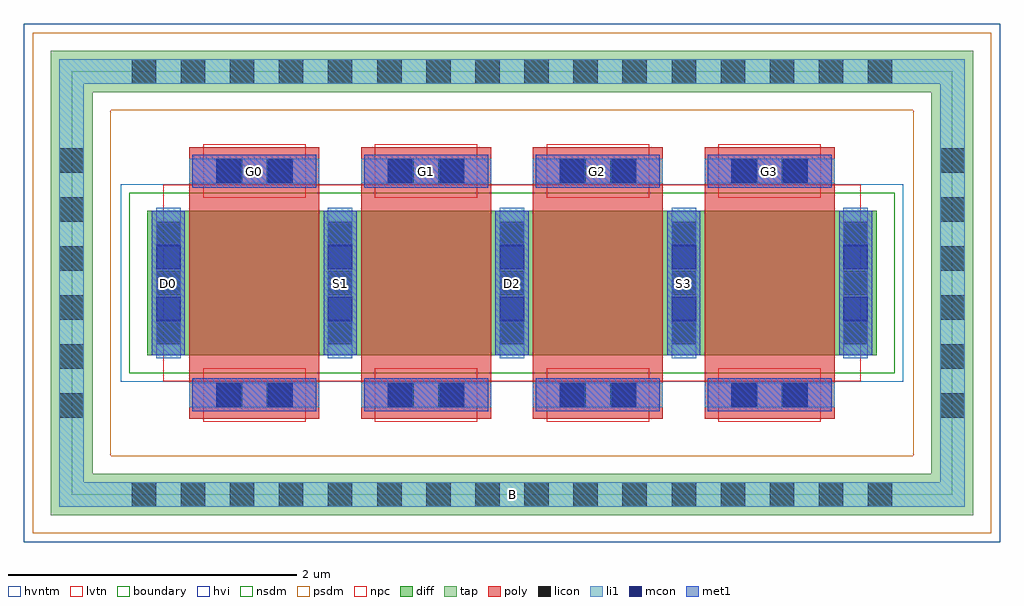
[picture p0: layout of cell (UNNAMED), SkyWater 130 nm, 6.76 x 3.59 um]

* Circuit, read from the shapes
.subckt (UNNAMED) B D0 D2 G0 G1 G2 G3 S1 S3
XM1 S1 G0 D0 B sky130_fd_pr__nfet_05v0_nvt w=1 l=0.9
XM2 D2 G1 S1 B sky130_fd_pr__nfet_05v0_nvt w=1 l=0.9
XM3 S3 G2 D2 B sky130_fd_pr__nfet_05v0_nvt w=1 l=0.9
XM4 n1 G3 S3 B sky130_fd_pr__nfet_05v0_nvt w=1 l=0.9
.ends

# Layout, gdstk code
import gdstk
lib = gdstk.Library(unit=1e-6, precision=1e-09)
def R(c, l, rs):  # rectangles x0, y0, x1, y1
    for r in rs: c.add(gdstk.rectangle(r[:2], r[2:], *l))
def A(c, l, x, y, w, h, nx, ny, dx, dy):  # array of equal rectangles
    R(c, l, [(x+i*dx, y+j*dy, x+i*dx+w, y+j*dy+h) for i in range(nx) for j in range(ny)])
diff = (65, 20)
tap = (65, 44)
poly = (66, 20)
licon = (66, 44)
li1 = (67, 20)
mcon = (67, 44)
met1 = (68, 20)
hvi = (75, 20)
nsdm = (93, 44)
psdm = (94, 20)
npc = (95, 20)
hvntm = (125, 20)
lvtn = (125, 44)
boundary = (235, 4)

c__unnamed_ = lib.new_cell('(UNNAMED)')
R(c__unnamed_, diff, [(-2.525,-0.5,2.525,0.5)])
R(c__unnamed_, tap, [(-3.195,-1.61,3.195,-1.32), (-3.195,-1.32,-2.905,1.32), (2.905,-1.32,3.195,1.32), (-3.195,1.32,3.195,1.61)])
A(c__unnamed_, poly, -2.235, -0.94, 0.9, 1.88, 4, 1, 1.19, 0)
A(c__unnamed_, licon, -2.635, -1.55, 0.17, 0.17, 16, 2, 0.34, 2.93)
A(c__unnamed_, licon, -3.135, -0.935, 0.17, 0.17, 1, 6, 0, 0.34)
A(c__unnamed_, licon, 2.965, -0.935, 0.17, 0.17, 1, 6, 0, 0.34)
A(c__unnamed_, licon, -2.465, -0.425, 0.17, 0.17, 5, 3, 1.19, 0.34)
R(c__unnamed_, licon, [(-2.04,-0.86,-1.87,-0.69), (-1.7,-0.86,-1.53,-0.69), (-0.85,-0.86,-0.68,-0.69), (-0.51,-0.86,-0.34,-0.69), (0.34,-0.86,0.51,-0.69), (0.68,-0.86,0.85,-0.69), (1.53,-0.86,1.7,-0.69), (1.87,-0.86,2.04,-0.69), (-2.04,0.69,-1.87,0.86), (-1.7,0.69,-1.53,0.86), (-0.85,0.69,-0.68,0.86), (-0.51,0.69,-0.34,0.86), (0.34,0.69,0.51,0.86), (0.68,0.69,0.85,0.86), (1.53,0.69,1.7,0.86), (1.87,0.69,2.04,0.86)])
A(c__unnamed_, li1, -2.235, -0.86, 0.9, 0.17, 4, 2, 1.19, 1.55)
A(c__unnamed_, li1, -2.465, -0.52, 0.17, 1.04, 5, 1, 1.19, 0)
R(c__unnamed_, li1, [(-3.135,-1.55,3.135,-1.38), (-3.135,-1.38,-2.965,1.38), (2.965,-1.38,3.135,1.38), (-3.135,1.38,3.135,1.55)])
A(c__unnamed_, mcon, -2.465, -0.265, 0.17, 0.17, 5, 2, 1.19, 0.36)
R(c__unnamed_, mcon, [(-2.05,-0.86,-1.88,-0.69), (-1.69,-0.86,-1.52,-0.69), (-0.86,-0.86,-0.69,-0.69), (-0.5,-0.86,-0.33,-0.69), (0.33,-0.86,0.5,-0.69), (0.69,-0.86,0.86,-0.69), (1.52,-0.86,1.69,-0.69), (1.88,-0.86,2.05,-0.69), (-2.05,0.69,-1.88,0.86), (-1.69,0.69,-1.52,0.86), (-0.86,0.69,-0.69,0.86), (-0.5,0.69,-0.33,0.86), (0.33,0.69,0.5,0.86), (0.69,0.69,0.86,0.86), (1.52,0.69,1.69,0.86), (1.88,0.69,2.05,0.86)])
A(c__unnamed_, met1, -2.215, -0.89, 0.86, 0.23, 4, 2, 1.19, 1.55)
A(c__unnamed_, met1, -2.495, -0.5, 0.23, 1, 5, 1, 1.19, 0)
R(c__unnamed_, hvi, [(-3.38,-1.795,3.38,1.795)])
R(c__unnamed_, nsdm, [(-2.65,-0.625,2.65,0.625)])
R(c__unnamed_, psdm, [(-3.32,-1.735,3.32,-1.195), (-3.32,-1.195,-2.78,1.195), (2.78,-1.195,3.32,1.195), (-3.32,1.195,3.32,1.735)])
A(c__unnamed_, npc, -2.14, -0.96, 0.71, 0.37, 4, 2, 1.19, 1.55)
R(c__unnamed_, hvntm, [(-2.71,-0.685,2.71,0.685)])
R(c__unnamed_, lvtn, [(-2.415,-0.68,2.415,0.68)])
R(c__unnamed_, boundary, [(-3.05,-1.465,3.05,1.465)])
c__unnamed_.add(gdstk.Label('B', (0,-1.465), layer=67, texttype=5))
c__unnamed_.add(gdstk.Label('D0', (-2.38,0), layer=67, texttype=5))
c__unnamed_.add(gdstk.Label('G0', (-1.785,0.775), layer=67, texttype=5))
c__unnamed_.add(gdstk.Label('S1', (-1.19,0), layer=67, texttype=5))
c__unnamed_.add(gdstk.Label('G1', (-0.595,0.775), layer=67, texttype=5))
c__unnamed_.add(gdstk.Label('D2', (0,0), layer=67, texttype=5))
c__unnamed_.add(gdstk.Label('G2', (0.595,0.775), layer=67, texttype=5))
c__unnamed_.add(gdstk.Label('S3', (1.19,0), layer=67, texttype=5))
c__unnamed_.add(gdstk.Label('G3', (1.785,0.775), layer=67, texttype=5))

lib.write_gds('_UNNAMED_.gds')
